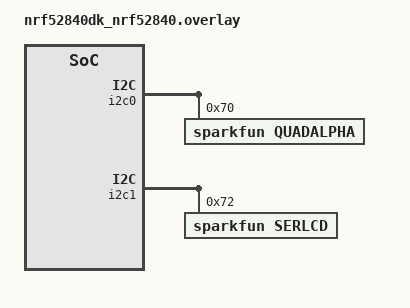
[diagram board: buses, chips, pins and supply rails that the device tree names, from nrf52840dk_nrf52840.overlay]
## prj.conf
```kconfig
CONFIG_I2C=y
CONFIG_NRFX_TWI1=y
CONFIG_AUXDISPLAY=y
CONFIG_AUXDISPLAY_QUADALPHA=y=y
```

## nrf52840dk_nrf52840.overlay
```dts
&i2c0 {
	status = "okay";
	
	quadalpha@70 {
		status = "okay";
		compatible = "sparkfun,quadalpha";
		reg = <0x70>;
		columns = <4>;
		rows = <1>;
		command-delay-ms = <10>;
		special-command-delay-ms = <50>;
	  };
};

&i2c1 {
	status = "okay";
	
    serlcd@72 {
		status = "okay";
		compatible = "sparkfun,serlcd";
		reg = <0x72>;
		columns = <16>;
		rows = <2>;
		command-delay-ms = <10>;
		special-command-delay-ms = <50>;
	  };
  };
```

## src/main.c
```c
#include <zephyr/kernel.h>
#include <zephyr/drivers/i2c.h>
#include <zephyr/drivers/auxdisplay.h>

// get the quadalpha display on i2c0 device from dt
const struct device *const i2c0_dev = DEVICE_DT_GET(DT_CHILD(DT_NODELABEL(i2c0), quadalpha_70));

int main(void)
{       

        k_msleep(500);
    
        // turn on display, ensure it's ready to go
        if (!device_is_ready(i2c0_dev)) {
                printk("I2C_0 device not ready :(\n");
                return 0;
        } else {
                printk("I2C_0 device is ready!\n");
        }
    
        // buffer for data to send to display
        uint8_t data[4];

        while (1) {
                // put ABCD in buffer and send
                snprintk(data, sizeof(data), "ABCD");
                // write to display
                auxdisplay_write(i2c0_dev, data, 4*sizeof(uint8_t));
                // wait 3 seconds
                k_msleep(3000);
                // clear the display
                auxdisplay_clear(i2c0_dev);
                // wait 3 more seconds
                k_msleep(3000);
        }
        

        
}
```

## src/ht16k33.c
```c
#include "ht16k33.h"

#include <stdio.h>
#include <string.h>
#include <stdlib.h>
#include <zephyr/device.h>
#include <zephyr/drivers/i2c.h>




#define CMD_STARTUP 0b00100000
#define CMD_SETUP 0b10000000

// get the i2c0 device from dt
static struct device *i2c0_dev = DEVICE_DT_GET(DT_NODELABEL(i2c0));

//static const struct device *i2c1_dev = DEVICE_DT_GET(DT_NODELABEL(i2c1));

#define I2C1_NODE DT_NODELABEL(vk16k33)
static struct i2c_dt_spec i2c1_dev = I2C_DT_SPEC_GET(I2C1_NODE);

int initI2C() {
    // check if i2c is ready to go
    if (!device_is_ready(i2c0_dev)) {
        printk("I2C device not ready :(\n");
        return 0;
    }
    
    if (!device_is_ready(i2c1_dev.bus)) {
        printk("I2C device not ready :(\n");
        return 0;
    }
    
    return 1;
}

void writeHT16K33() {

    uint8_t three = 3;

    uint8_t testBuf[] = {
        0b00000110001101, // S
        0b00000101110110, // H
        0b01001000001001, // I
        0b01001000000001  // T
    };

    

    i2c_write_dt(
        &i2c1_dev,
        (CMD_STARTUP | 1),
        1
    );

    k_msleep(2);

    i2c_write_dt(
        &i2c1_dev,
        (CMD_SETUP | 1),
        1
    );

    k_msleep(200);


    while (1) {
        i2c_write_dt(
            &i2c1_dev,
            testBuf,
            4
        );
    }
    
    

    //i2c_write(
    //    i2c0_dev,
    //    &three,
    //    1,
    //    0x71
    //);

    //return 0;
}
```

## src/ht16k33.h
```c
#ifndef HT16K33
#define HT16K33

//rename
int initI2C();

void writeHT16K33();

#endif
```
